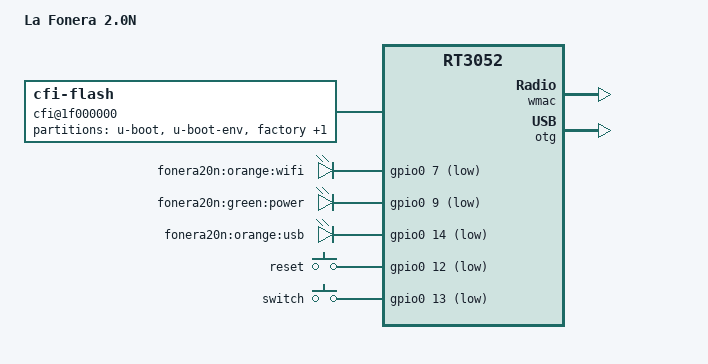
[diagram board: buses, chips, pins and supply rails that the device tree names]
/dts-v1/;

#include "rt3050.dtsi"

/ {
	compatible = "FONERA20N", "ralink,rt3052-soc";
	model = "La Fonera 2.0N";

	cfi@1f000000 {
		compatible = "cfi-flash";
		reg = <0x1f000000 0x800000>;
		bank-width = <2>;
		device-width = <2>;
		#address-cells = <1>;
		#size-cells = <1>;

		partition@0 {
			label = "u-boot";
			reg = <0x0 0x30000>;
			read-only;
		};

		partition@30000 {
			label = "u-boot-env";
			reg = <0x30000 0x10000>;
			read-only;
		};

		factory: partition@40000 {
			label = "factory";
			reg = <0x40000 0x10000>;
			read-only;
		};

		partition@50000 {
			label = "firmware";
			reg = <0x50000 0x7b0000>;
		};
	};

	gpio-leds {
		compatible = "gpio-leds";

		wifi {
			label = "fonera20n:orange:wifi";
			gpios = <&gpio0 7 1>;
		};

		power {
			label = "fonera20n:green:power";
			gpios = <&gpio0 9 1>;
		};

		usb {
			label = "fonera20n:orange:usb";
			gpios = <&gpio0 14 1>;
		};
	};

	gpio-keys-polled {
		compatible = "gpio-keys-polled";
		#address-cells = <1>;
		#size-cells = <0>;
		poll-interval = <20>;

		reset {
			label = "reset";
			gpios = <&gpio0 12 1>;
			linux,code = <0x198>;
		};

		switch {
			label = "switch";
			gpios = <&gpio0 13 1>;
			linux,code = <0xf7>;
			linux,input-type = <5>; /* EV_SW */
		};
	};
};

&pinctrl {
	state_default: pinctrl0 {
		gpio {
			ralink,group = "i2c", "spi", "jtag", "mdio", "rgmii", "uartf";
			ralink,function = "gpio";
		};
	};
};

&ethernet {
	mtd-mac-address = <&factory 0x28>;
};

&esw {
	mediatek,portmap = <0x2f>;

	port@0 {
		compatible = "swconfig,port";
		swconfig,segment = "lan";
		swconfig,portmap = <0 4>;
	};

	port@1 {
		compatible = "swconfig,port";
		swconfig,segment = "lan";
		swconfig,portmap = <1 3>;
	};

	port@2 {
		compatible = "swconfig,port";
		swconfig,segment = "lan";
		swconfig,portmap = <2 2>;
	};

	port@3 {
		compatible = "swconfig,port";
		swconfig,segment = "lan";
		swconfig,portmap = <3 1>;
	};

	port@4 {
		compatible = "swconfig,port";
		swconfig,segment = "wan";
		swconfig,portmap = <4 0>;
	};
};

&wmac {
	ralink,mtd-eeprom = <&factory 0>;
};

&otg {
	status = "okay";
};
